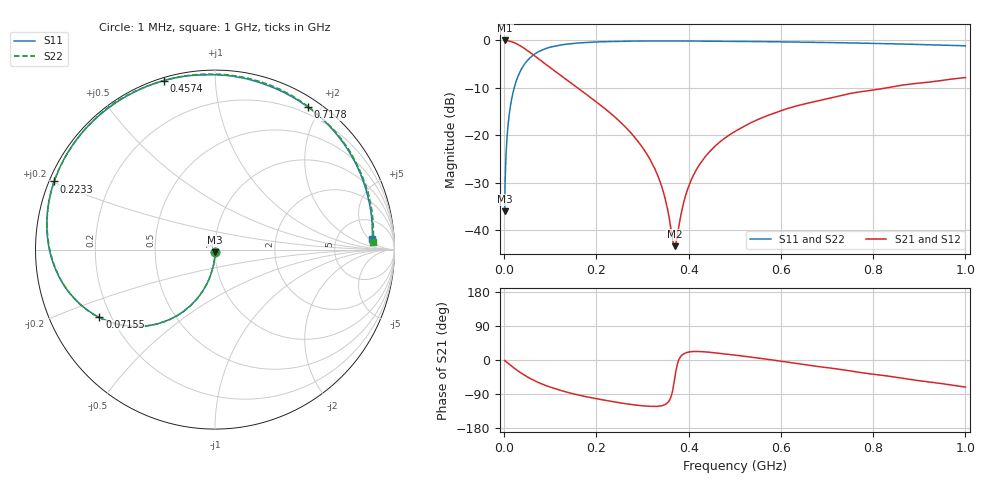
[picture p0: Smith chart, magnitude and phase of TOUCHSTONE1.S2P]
!Agilent Technologies,E5071C,MY46104870,A.11.22
!Date: Sun Jan 01 01:40:09 2017
!Data & Calibration Information:
!Freq	S11:SOLT2(ON)	S21:SOLT2(ON)	S12:SOLT2(ON)	S22:SOLT2(ON)
!PortZ  Port1:50+j0  Port2:50+j0
!Above PortZ is port z conversion or system Z0 setting when saving the data.
!When reading, reference impedance value at option line is always used.
# Hz S dB R 50
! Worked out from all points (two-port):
!   1601 points, 1 MHz to 1 GHz, reference 50 ohm
!   highest |S21| = 0.00 dB at 2.249 MHz (marker M1); lowest = -43.3 dB at 369.4 MHz (marker M2)
!   |S21| within 3 dB of the highest: start of sweep to 62.85 MHz
!   lowest |S11| = -36.0 dB at 1 MHz (marker M3), VSWR 1.03, Z = 49.9 - j1.59 ohm
!   |S11| at or under -10 dB: start of sweep to 21.79 MHz
!   |S22| runs from -36.5 to -0.1 dB; largest |S21 - S12| = 0.0071
!   S11 on the Smith chart (normalised r, x): 1 MHz: 1.00, -0.03; 71.55 MHz: 0.16, -0.26; 223.3 MHz: 0.01, +0.20; 457.4 MHz: 0.01, +0.74; 717.8 MHz: 0.12, +1.84; 1 GHz: 12, +6
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1000000  -35.96 -93.0  -0.01 -1.1  -0.00 -1.0  -36.51 -90.7
2248750  -29.20 -90.7  0.00 -2.3  -0.00 -2.3  -29.50 -92.3
7243750  -19.20 -97.6  -0.06 -7.3  -0.05 -7.3  -19.18 -97.6
9741250  -16.63 -99.9  -0.10 -9.8  -0.10 -9.8  -16.66 -100.0
2.098e7  -10.29 -111.1  -0.44 -20.6  -0.43 -20.6  -10.31 -111.0
4.34575e7  -5.09 -130.7  -1.64 -39.7  -1.64 -39.7  -5.09 -130.6
7.155438e7  -2.55 -149.7  -3.64 -57.9  -3.62 -57.8  -2.55 -149.4
1.127631e8  -1.13 -169.4  -6.66 -76.6  -6.65 -76.6  -1.15 -169.2
1.677081e8  -0.48 171.9  -10.61 -94.2  -10.59 -94.0  -0.49 171.5
2.232775e8  -0.24 157.0  -14.74 -107.2  -14.79 -107.1  -0.23 156.9
2.925831e8  -0.13 140.9  -21.57 -119.9  -21.53 -119.8  -0.14 140.8
3.344162e8  -0.11 131.9  -28.78 -122.0  -28.74 -122.2  -0.10 131.7
3.494012e8  -0.11 128.8  -33.47 -117.0  -33.41 -117.3  -0.09 128.6
3.693812e8  -0.11 124.6  -43.34 -52.0  -43.40 -52.1  -0.08 124.6
3.9061e8  -0.13 120.2  -33.63 17.1  -33.59 17.7  -0.10 120.4
4.043462e8  -0.12 117.4  -29.68 21.8  -29.66 22.0  -0.11 117.5
4.574181e8  -0.14 106.9  -22.26 18.9  -22.27 18.8  -0.14 106.5
5.005e8  -0.19 98.5  -19.17 12.8  -19.20 12.8  -0.17 98.0
6.672081e8  -0.39 66.6  -13.01 -15.0  -12.93 -14.8  -0.35 65.7
7.177825e8  -0.46 56.9  -11.89 -22.9  -11.82 -23.5  -0.45 56.2
8.339162e8  -0.69 34.9  -9.89 -42.7  -9.96 -42.9  -0.66 34.1
1e9  -1.12 3.8  -7.81 -71.4  -7.75 -71.4  -1.08 2.7
